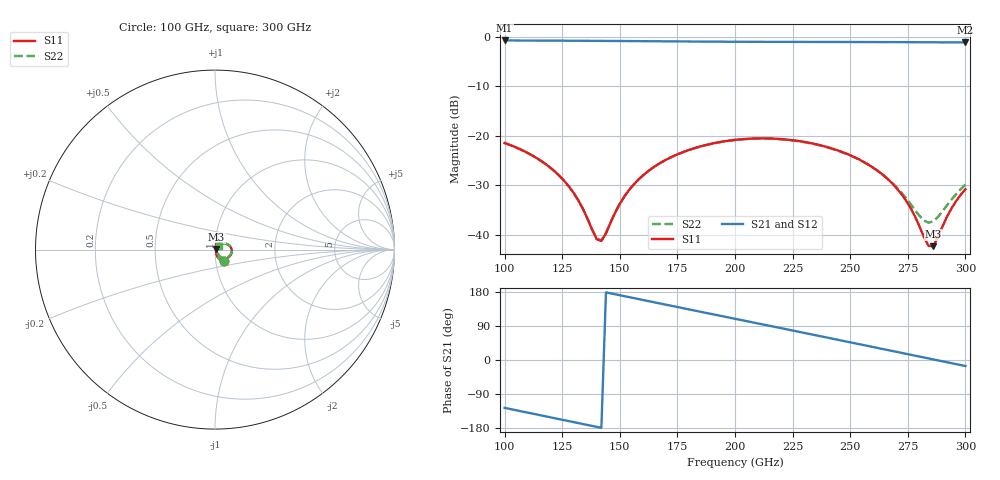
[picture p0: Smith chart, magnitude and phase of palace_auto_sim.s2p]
#  GHZ S DB R 50
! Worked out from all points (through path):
!   101 points, 100 GHz to 300 GHz, reference 50 ohm
!   highest |S21| = -0.72 dB at 100 GHz (marker M1); lowest = -1.1 dB at 300 GHz (marker M2)
!   group delay of S21, straight-line fit = 3.46 ps
!   lowest |S11| = -42.3 dB at 286 GHz (marker M3), VSWR 1.02, Z = 50.8 + j0.0654 ohm
!   |S11| at or under -10 dB: start of sweep to end of sweep
!   |S22| runs from -41.1 to -20.6 dB; largest |S21 - S12| = 1.1e-14
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100  -21.45 -51.5  -0.72 -126.3  -0.72 -126.3  -21.47 -51.2
120  -26.50 -69.4  -0.76 -151.4  -0.76 -151.4  -26.53 -68.9
128  -30.29 -72.6  -0.78 -161.5  -0.78 -161.5  -30.32 -72.0
134  -34.77 -67.9  -0.79 -169.0  -0.79 -169.0  -34.79 -67.0
140  -40.92 -31.3  -0.81 -176.5  -0.81 -176.5  -40.82 -30.2
142  -41.27 -4.9  -0.81 -179.0  -0.81 -179.0  -41.12 -4.2
150  -33.76 41.6  -0.84 171.0  -0.84 171.0  -33.73 41.8
154  -30.98 44.0  -0.85 166.0  -0.85 166.0  -30.97 44.3
160  -28.03 42.4  -0.87 158.5  -0.87 158.5  -28.03 42.8
168  -25.37 36.7  -0.90 148.5  -0.90 148.5  -25.38 37.2
184  -22.28 21.5  -0.95 128.6  -0.95 128.6  -22.30 22.3
200  -20.82 4.5  -0.98 108.8  -0.98 108.8  -20.86 5.6
216  -20.56 -13.3  -1.01 89.0  -1.01 89.0  -20.60 -11.7
234  -21.59 -33.3  -1.02 66.6  -1.02 66.6  -21.64 -30.8
254  -24.81 -54.2  -1.04 41.7  -1.04 41.7  -24.86 -49.5
268  -29.51 -65.2  -1.06 24.2  -1.06 24.2  -29.41 -56.0
276  -34.43 -64.3  -1.07 14.2  -1.07 14.2  -33.67 -48.6
282  -40.46 -42.7  -1.08 6.6  -1.08 6.6  -37.12 -23.5
284  -42.26 -21.9  -1.09 4.1  -1.09 4.1  -37.56 -9.7
286  -42.31 4.8  -1.09 1.6  -1.09 1.6  -37.30 4.4
294  -34.65 48.0  -1.11 -8.3  -1.11 -8.3  -32.88 35.3
300  -30.82 49.7  -1.12 -15.8  -1.12 -15.8  -29.87 39.8
